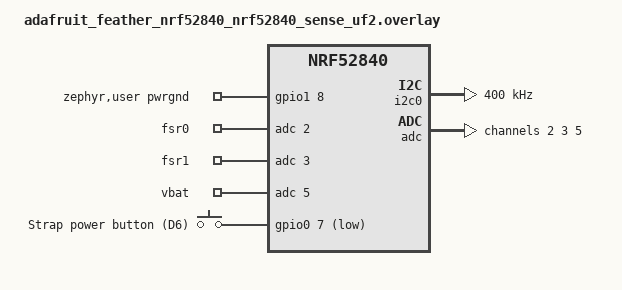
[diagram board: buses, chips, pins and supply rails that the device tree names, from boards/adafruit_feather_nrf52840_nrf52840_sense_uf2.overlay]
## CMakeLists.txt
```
cmake_minimum_required(VERSION 3.20.0)

find_package(Zephyr REQUIRED HINTS $ENV{ZEPHYR_BASE})
project(boxe_node)

target_sources(app PRIVATE
  src/main.c
  src/punch_detect.c
  src/ble_service.c
  src/adxl375.c
  src/lsm6ds33.c
  src/power.c
)
target_include_directories(app PRIVATE src)
```

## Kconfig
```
# Boxe_AI application options

menu "Boxe_AI"

config BOXE_HAND_R
	bool "Build the right-hand node"
	help
	  The two wrist nodes run identical firmware and differ only by the
	  name they advertise: BOXE-L (default) or BOXE-R. Without this symbol
	  a -DCONFIG_BOXE_HAND_R=y on the west command line is silently
	  discarded and both nodes come up as BOXE-L.

endmenu

source "Kconfig.zephyr"
```

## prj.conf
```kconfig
# Boxe_AI node — Zephyr (upstream, v4.4.x)

CONFIG_BT=y
CONFIG_BT_PERIPHERAL=y
CONFIG_BT_DEVICE_NAME="BOXE-X"
# Device name is overridden at runtime from a hand-select GPIO or build flag
CONFIG_BT_DEVICE_NAME_DYNAMIC=y
CONFIG_BT_L2CAP_TX_MTU=247
CONFIG_BT_BUF_ACL_TX_SIZE=251
CONFIG_BT_BUF_ACL_RX_SIZE=251

# Raw 1 kHz capture pushes 208 B x 50/s = ~10.4 kB/s on top of the 100 Hz
# stream. The defaults do not carry that: three tx buffers empty faster than
# the controller refills them, and the 1M PHY with a 30-50 ms interval has no
# headroom. Data length extension keeps one notify in one link-layer packet.
CONFIG_BT_BUF_ACL_TX_COUNT=10
CONFIG_BT_CONN_TX_MAX=10
# Raising the tx count forces this one: every tx buffer can produce a
# num-completed-packets event, so the host asserts at build time unless the
# event RX pool is strictly larger than the ACL TX pool.
CONFIG_BT_BUF_EVT_RX_COUNT=12
CONFIG_BT_CTLR_PHY_2M=y
CONFIG_BT_USER_PHY_UPDATE=y
CONFIG_BT_AUTO_PHY_UPDATE=y
CONFIG_BT_CTLR_DATA_LENGTH_MAX=251
CONFIG_BT_AUTO_DATA_LEN_UPDATE=y

CONFIG_I2C=y
CONFIG_ADC=y
CONFIG_GPIO=y

# Console + shell land on the USB CDC port (the uf2 board variant wires
# zephyr,console to board_cdc_acm_uart) — no debug probe needed for bring-up.
# For RTT over the Pi Debug Probe instead, add: -DEXTRA_CONF_FILE=rtt.conf
CONFIG_LOG=y
CONFIG_LOG_MODE_DEFERRED=y
CONFIG_SHELL=y
CONFIG_I2C_SHELL=y

CONFIG_MAIN_STACK_SIZE=2048
CONFIG_SYSTEM_WORKQUEUE_STACK_SIZE=2048

# Float printf for debug
CONFIG_CBPRINTF_FP_SUPPORT=y

# Honour the board's DT code partition (0x26000). Without this Zephyr links at
# 0x0, over the MBR/SoftDevice region the Adafruit UF2 bootloader reserves, and
# the bootloader never jumps to the image.
CONFIG_USE_DT_CODE_PARTITION=y

# sys_reboot(), used by the `dfu` shell command
CONFIG_REBOOT=y

# sys_poweroff() -> nRF System OFF; the strap button holds to power off and
# wakes through GPIO SENSE (src/power.c)
CONFIG_POWEROFF=y
```

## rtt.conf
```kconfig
# Move logging and shell to SEGGER RTT (SWD probe) instead of USB CDC.
#   west build -b <board> firmware -- -DEXTRA_CONF_FILE=rtt.conf
#   pyocd rtt -t nrf52840
# Useful once the node runs on battery with no USB attached.

CONFIG_USE_SEGGER_RTT=y
CONFIG_LOG_BACKEND_RTT=y
CONFIG_LOG_BACKEND_UART=n
CONFIG_SHELL_BACKEND_RTT=y
CONFIG_SHELL_BACKEND_SERIAL=n
```

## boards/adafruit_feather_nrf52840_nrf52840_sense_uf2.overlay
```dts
/*
 * Boxe_AI node — devicetree overlay, Feather nRF52840 Sense (uf2 variant).
 *
 * The two I2C sensors (ADXL375 on the STEMMA QT connector, on-board LSM6DS33)
 * have no usable Zephyr driver, so they are driven register-level from
 * src/adxl375.c and src/lsm6ds33.c. Nothing to declare for them here beyond
 * the bus speed.
 *
 * FlexiForce A201 dividers: A0 = P0.04 = AIN2, A1 = P0.05 = AIN3.
 * Battery sense: the board wires VBAT through a 100k/100k divider to
 * P0.29 = AIN5 (see vbatt node in the board dtsi).
 * Power button: momentary, between D6 = P0.07 and D5 = P1.08, internal
 * pull-up on D6. D5 is driven low as the button's return — the header has a
 * single GND pin and the FSR dividers already own it. Any real GND works too.
 * EN is left unconnected (src/power.c does the on/off latching).
 */

#include <zephyr/dt-bindings/adc/adc.h>
#include <zephyr/dt-bindings/adc/nrf-adc.h>
#include <zephyr/dt-bindings/i2c/i2c.h>

&i2c0 {
	status = "okay";
	/* 400 kHz: a 6-byte ADXL375 read must fit inside the 1 ms sample tick */
	clock-frequency = <I2C_BITRATE_FAST>;
};

/ {
	zephyr,user {
		io-channels = <&adc 2>, <&adc 3>, <&adc 5>;
		io-channel-names = "fsr0", "fsr1", "vbat";
		/* button return: held low by power.c, retained through System OFF */
		pwrgnd-gpios = <&gpio1 8 GPIO_ACTIVE_HIGH>;
	};

	/* Point the alias at &button0 (the on-board switch, P1.02) to try the
	 * hold-to-off / press-to-wake path before a strap button is wired. */
	aliases {
		pwrbtn = &pwr_button;
	};

	strap_buttons {
		compatible = "gpio-keys";

		pwr_button: pwr_button {
			gpios = <&gpio0 7 (GPIO_PULL_UP | GPIO_ACTIVE_LOW)>;
			label = "Strap power button (D6)";
		};
	};
};

&adc {
	status = "okay";
	#address-cells = <1>;
	#size-cells = <0>;

	/* FSR channels: 0-3.3 V into a 3.6 V window (gain 1/6, 0.6 V ref).
	 *
	 * 20 us acquisition, not the usual 10: the SAADC caps source impedance
	 * per acquisition time (10 us -> 100k, 15 -> 200k, 20 -> 400k) and the
	 * divider presents R_fixed || R_fsr, which is ~100k unloaded with the
	 * 100k fixed resistor. 10 us would sit exactly on the limit. Two
	 * channels at 20 us is 40 us of a 1000 us tick.
	 */
	channel@2 {
		reg = <2>;
		zephyr,gain = "ADC_GAIN_1_6";
		zephyr,reference = "ADC_REF_INTERNAL";
		zephyr,acquisition-time = <ADC_ACQ_TIME(ADC_ACQ_TIME_MICROSECONDS, 20)>;
		zephyr,input-positive = <NRF_SAADC_AIN2>;
		zephyr,resolution = <12>;
	};

	channel@3 {
		reg = <3>;
		zephyr,gain = "ADC_GAIN_1_6";
		zephyr,reference = "ADC_REF_INTERNAL";
		zephyr,acquisition-time = <ADC_ACQ_TIME(ADC_ACQ_TIME_MICROSECONDS, 20)>;
		zephyr,input-positive = <NRF_SAADC_AIN3>;
		zephyr,resolution = <12>;
	};

	/* VBAT after the on-board 2:1 divider: 4.2 V -> 2.1 V, needs a 2.4 V
	 * window (gain 1/4). Longer acquisition — high divider impedance. */
	channel@5 {
		reg = <5>;
		zephyr,gain = "ADC_GAIN_1_4";
		zephyr,reference = "ADC_REF_INTERNAL";
		zephyr,acquisition-time = <ADC_ACQ_TIME(ADC_ACQ_TIME_MICROSECONDS, 40)>;
		zephyr,input-positive = <NRF_SAADC_AIN5>;
		zephyr,resolution = <12>;
	};
};
```

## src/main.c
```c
/*
 * Boxe_AI wrist node — main sampling pipeline.
 *
 *   k_timer 1 kHz ─▶ sample work: SAADC read (FSR x2) + ADXL375 FIFO drain
 *                    ├─▶ punch_detect_feed()   (always, full rate)
 *                    └─▶ every IMU_DECIM ticks: LSM6DS33 read, batch into
 *                        imu_packet, notify when STREAM_BATCH full
 *   1 Hz status timer ─▶ battery ADC + counters -> status notify
 *
 * Both I2C sensors are driven register-level (adxl375.c / lsm6ds33.c): no
 * Zephyr driver exists for either part on this board.
 */

#include <zephyr/kernel.h>
#include <zephyr/logging/log.h>
#include <zephyr/drivers/adc.h>
#include <zephyr/drivers/gpio.h>
#include <stdlib.h>
#include <zephyr/shell/shell.h>
#include <zephyr/sys/reboot.h>
#include <hal/nrf_power.h>
#include "boxe.h"

LOG_MODULE_REGISTER(boxe, LOG_LEVEL_INF);

/* Hand selection: build with -DCONFIG_BOXE_HAND_R=y for right node,
 * or read a GPIO strap at boot (v1). */
#ifdef CONFIG_BOXE_HAND_R
#define NODE_NAME "BOXE-R"
#else
#define NODE_NAME "BOXE-L"
#endif

static const struct adc_dt_spec fsr0 =
	ADC_DT_SPEC_GET_BY_NAME(DT_PATH(zephyr_user), fsr0);
static const struct adc_dt_spec fsr1 =
	ADC_DT_SPEC_GET_BY_NAME(DT_PATH(zephyr_user), fsr1);
static const struct adc_dt_spec vbat =
	ADC_DT_SPEC_GET_BY_NAME(DT_PATH(zephyr_user), vbat);

/*
 * Red LED (D13, P1.09): a 50 ms blink every 2 s while the node is running, so
 * the on/off state is visible through the strap. Solid would cost ~2 mA,
 * 15-20 % of the node's draw on a 200 mAh pack; the blink averages ~50 uA.
 * Both timers run in ISR context; the nRF GPIO driver is safe to call there.
 */
#define LED_PERIOD   K_SECONDS(2)
#define LED_ON_TIME  K_MSEC(50)

static const struct gpio_dt_spec led_on = GPIO_DT_SPEC_GET(DT_ALIAS(led0), gpios);

static void led_off_fn(struct k_timer *timer)
{
	ARG_UNUSED(timer);
	(void)gpio_pin_set_dt(&led_on, 0);
}
K_TIMER_DEFINE(led_off_timer, led_off_fn, NULL);

static void led_blink_fn(struct k_timer *timer)
{
	ARG_UNUSED(timer);
	(void)gpio_pin_set_dt(&led_on, 1);
	k_timer_start(&led_off_timer, LED_ON_TIME, K_NO_WAIT);
}
K_TIMER_DEFINE(led_blink_timer, led_blink_fn, NULL);

static struct imu_packet stream_pkt;
static uint8_t stream_fill;
static struct raw_packet raw_pkt;
static uint8_t raw_fill;
static uint32_t tick_count, dropped, event_count;
/* peak-hold across one decimation window: FSR channels, and the hardest
 * high-g tick, so the 100 Hz stream shows the impact rather than the tick
 * before or after it */
static uint16_t fsr0_hold, fsr1_hold;
static int16_t hg_hold[3];
static uint16_t hg_hold_mag;
static uint32_t ticks_this_second, measured_hz;
static uint32_t hg_down_s;      /* seconds the ADXL375 was not measuring */

static uint16_t adc_read_raw(const struct adc_dt_spec *spec)
{
	int16_t raw = 0;
	struct adc_sequence seq = {
		.buffer = &raw,
		.buffer_size = sizeof(raw),
	};

	adc_sequence_init_dt(spec, &seq);
	if (adc_read_dt(spec, &seq) != 0) {
		return 0;
	}
	return raw < 0 ? 0 : (uint16_t)raw;
}

static void sample_fn(struct k_work *work)
{
	uint32_t t_us = (uint32_t)k_cyc_to_us_floor64(k_cycle_get_32());

	ticks_this_second++;

	/* --- FSR channels (fast path, every tick) ------------------- */
	uint16_t raw0 = adc_read_raw(&fsr0);
	uint16_t raw1 = adc_read_raw(&fsr1);

	if (raw0 > fsr0_hold) {
		fsr0_hold = raw0;
	}
	if (raw1 > fsr1_hold) {
		fsr1_hold = raw1;
	}

	/* --- ADXL375 (every tick — impact peaks are short) ----------- */
	int16_t hgx = 0, hgy = 0, hgz = 0;
	(void)adxl375_read_peak(&hgx, &hgy, &hgz);

	uint16_t hg_mag = punch_hg_mag(hgx, hgy, hgz);

	if (hg_mag > hg_hold_mag) {
		hg_hold_mag = hg_mag;
		hg_hold[0] = hgx; hg_hold[1] = hgy; hg_hold[2] = hgz;
	}

	punch_detect_feed(t_us, raw0, raw1, hgx, hgy, hgz);

	/* --- raw capture (only while a host is subscribed) ----------- */
	if (ble_raw_enabled()) {
		if (raw_fill == 0) {
			raw_pkt.t_us_base = t_us;
		}
		struct raw_sample *r = &raw_pkt.s[raw_fill];

		r->hgx = hgx; r->hgy = hgy; r->hgz = hgz;
		r->f0 = raw0; r->f1 = raw1;

		if (++raw_fill == RAW_BATCH) {
			raw_fill = 0;
			ble_raw_submit(&raw_pkt);
		}
	} else if (raw_fill) {
		/* capture stopped mid-packet: drop the partial batch rather
		 * than emit it later against a stale timebase */
		raw_fill = 0;
	}

	struct event_packet ev;

	while (punch_detect_pop(&ev)) {
		event_count++;
		ble_notify_event(&ev);
		LOG_INF("punch #%u peak=%u f0=%u width=%u.%u ms exec=%u ms",
			ev.seq, ev.peak_hg, ev.f0_peak,
			ev.width_ms10 / 10, ev.width_ms10 % 10,
			(ev.t_us - ev.t_start_us) / 1000);
	}

	/* --- decimated IMU stream ------------------------------------ */
	if (++tick_count % IMU_DECIM == 0) {
		int16_t a[3] = {0}, g[3] = {0};

		(void)lsm6ds33_read(a, g);
		punch_detect_lowg(a);

		if (stream_fill == 0) {
			stream_pkt.t_us_base = t_us;
		}
		struct imu_sample *s = &stream_pkt.s[stream_fill];

		s->ax = a[0]; s->ay = a[1]; s->az = a[2];
		s->gx = g[0]; s->gy = g[1]; s->gz = g[2];
		s->hgx = hg_hold[0]; s->hgy = hg_hold[1]; s->hgz = hg_hold[2];
		s->f0 = fsr0_hold; s->f1 = fsr1_hold;
		fsr0_hold = 0; fsr1_hold = 0;
		hg_hold_mag = 0;

		if (++stream_fill == STREAM_BATCH) {
			stream_fill = 0;
			ble_notify_imu(&stream_pkt);
		}
	}
}
K_WORK_DEFINE(sample_work, sample_fn);

static void sample_tick(struct k_timer *timer)
{
	/* keep the ISR minimal: hand off to the system workqueue */
	if (k_work_submit(&sample_work) < 0) {
		dropped++;
	}
}
K_TIMER_DEFINE(sample_timer, sample_tick, NULL);

static void status_fn(struct k_work *work)
{
	/* on-board 100k/100k divider: VBAT = 2 x measured */
	uint16_t vbat_raw = adc_read_raw(&vbat);
	int32_t mv = vbat_raw;

	if (adc_raw_to_millivolts_dt(&vbat, &mv) != 0) {
		mv = 0;
	}

	/*
	 * Throw away one FSR conversion before the sample loop takes its next
	 * one. The battery channel shares the SAADC with the FSR channels and
	 * uses a different input configuration, and the first fsr0 conversion
	 * after a vbat conversion reads about 160 counts high — one sample
	 * wide, on fsr0 only, because fsr1 is read second and has settled.
	 *
	 * That is above PUNCH_FSR_CONTACT, so it asserted contact for exactly
	 * one sample and manufactured a punch event once per second: 27 events
	 * in a 32 s capture of a node lying still, every one of them 1.000 s
	 * after the last.
	 */
	(void)adc_read_raw(&fsr0);

	measured_hz = ticks_this_second;
	ticks_this_second = 0;

	/* The high-g part is the punch detector's start trigger. If it drops
	 * into standby the node keeps streaming a plausible-looking stream of
	 * zeros and detects nothing at all, so check it every second. */
	bool measuring = false;

	(void)adxl375_health(&measuring);
	if (!measuring) {
		hg_down_s++;
	}

	struct status_packet st = {
		.uptime_s = k_uptime_get() / 1000,
		.batt_mv = (uint16_t)(mv * 2),
		.loop_hz = (uint16_t)measured_hz,
		.dropped = (uint16_t)dropped,
		.events = (uint16_t)event_count,
	};

	ble_notify_status(&st);
}
K_WORK_DEFINE(status_work, status_fn);

static void status_tick(struct k_timer *timer)
{
	k_work_submit(&status_work);
}
K_TIMER_DEFINE(status_timer, status_tick, NULL);

void pipeline_stop(void)
{
	k_timer_stop(&sample_timer);
	k_timer_stop(&status_timer);
	k_timer_stop(&led_blink_timer);
	k_timer_stop(&led_off_timer);
	(void)gpio_pin_set_dt(&led_on, 0);
}

int main(void)
{
	LOG_INF("Boxe_AI node %s boot", NODE_NAME);

	if (gpio_is_ready_dt(&led_on)) {
		(void)gpio_pin_configure_dt(&led_on, GPIO_OUTPUT_INACTIVE);
		k_timer_start(&led_blink_timer, K_NO_WAIT, LED_PERIOD);
	} else {
		LOG_ERR("led0 not ready");
	}

	if (!adc_is_ready_dt(&fsr0) || !adc_is_ready_dt(&fsr1) ||
	    !adc_is_ready_dt(&vbat)) {
		LOG_ERR("SAADC not ready");
	}
	(void)adc_channel_setup_dt(&fsr0);
	(void)adc_channel_setup_dt(&fsr1);
	(void)adc_channel_setup_dt(&vbat);

	if (adxl375_init() != 0) {
		LOG_ERR("adxl375 init failed — high-g is the punch start "
			"trigger, so detection will not work until it does");
	}
	(void)lsm6ds33_init();

	int err = ble_service_init(NODE_NAME);

	if (err) {
		LOG_ERR("BLE init failed (%d)", err);
		return err;
	}

	k_timer_start(&sample_timer, K_MSEC(1), K_USEC(1000000 / SAMPLE_HZ));
	k_timer_start(&status_timer, K_SECONDS(1), K_SECONDS(1));

	/* after the pipeline: a hold detected before this point would race
	 * the timers it stops */
	(void)power_button_init();

	LOG_INF("pipeline running at %d Hz", SAMPLE_HZ);
	return 0;
}

/*
 * `dfu` shell command: reboot into the Adafruit UF2 bootloader without the
 * physical double-tap on RESET, so reflashing stays scriptable over the USB
 * console. 0x57 is the magic the bootloader looks for in GPREGRET.
 */
static int cmd_dfu(const struct shell *sh, size_t argc, char **argv)
{
	ARG_UNUSED(argc);
	ARG_UNUSED(argv);

	shell_print(sh, "rebooting into the UF2 bootloader");
	nrf_power_gpregret_set(NRF_POWER, 0, 0x57);
	sys_reboot(SYS_REBOOT_COLD);
	return 0;
}
SHELL_CMD_REGISTER(dfu, NULL, "Reboot into the UF2 bootloader", cmd_dfu);

/*
 * `fsr [n]` shell command: print raw SAADC counts for both FlexiForce
 * channels, n times at 10 Hz (default 20). Used to size the divider's fixed
 * resistor — the counts are otherwise only visible inside an event packet,
 * which needs a punch to fire.
 *
 * Scale: 12-bit, gain 1/6, 0.6 V internal reference -> 3.6 V full scale over
 * 4095 counts, i.e. 0.879 mV/count. A 3.3 V rail therefore tops out at 3754.
 */
static int cmd_fsr(const struct shell *sh, size_t argc, char **argv)
{
	uint32_t n = 20;

	if (argc > 1) {
		n = strtoul(argv[1], NULL, 0);
		if (n == 0 || n > 1000) {
			shell_error(sh, "count must be 1..1000");
			return -EINVAL;
		}
	}

	/*
	 * Report the signed reading and the driver's error code, not the
	 * clamped value the sample loop uses. adc_read_raw() maps a failed
	 * conversion, a slightly negative reading at 0 V, and a genuine 0 V
	 * onto the same 0 — which is exactly the ambiguity that made a dead
	 * channel indistinguishable from an unloaded sensor.
	 */
	shell_print(sh, " f0raw err  f1raw err     mV0    mV1");
	for (uint32_t i = 0; i < n; i++) {
		int16_t v0 = 0, v1 = 0;
		struct adc_sequence s0 = { .buffer = &v0,
					   .buffer_size = sizeof(v0) };
		struct adc_sequence s1 = { .buffer = &v1,
					   .buffer_size = sizeof(v1) };

		adc_sequence_init_dt(&fsr0, &s0);
		int e0 = adc_read_dt(&fsr0, &s0);

		adc_sequence_init_dt(&fsr1, &s1);
		int e1 = adc_read_dt(&fsr1, &s1);

		shell_print(sh, "%6d %3d %6d %3d  %6d %6d", v0, e0, v1, e1,
			    (int)((int32_t)v0 * 3600 / 4095),
			    (int)((int32_t)v1 * 3600 / 4095));
		k_sleep(K_MSEC(100));
	}
	return 0;
}
SHELL_CMD_REGISTER(fsr, NULL, "Print raw FSR ADC counts: fsr [samples]", cmd_fsr);

/*
 * `hg` shell command: is the high-g part actually measuring, and what does it
 * read. Standby streams zeros, which on the wire is indistinguishable from a
 * perfectly still node — a whole session was recorded that way before this
 * existed. Check it before strapping the nodes on.
 */
static int cmd_hg(const struct shell *sh, size_t argc, char **argv)
{
	uint32_t n = 10;

	if (argc > 1) {
		n = strtoul(argv[1], NULL, 0);
		if (n == 0 || n > 1000) {
			shell_error(sh, "count must be 1..1000");
			return -EINVAL;
		}
	}

	bool measuring = false;
	int err = adxl375_health(&measuring);

	shell_print(sh, "measuring : %s%s", measuring ? "yes" : "NO",
		    err ? " (i2c error)" : "");
	shell_print(sh, "recoveries: %u", adxl375_recoveries());
	shell_print(sh, "seconds down: %u", hg_down_s);

	/* FIFO headroom: the loop pops the FIFO every tick, so the most
	 * entries ever found waiting says how late the loop has run. Near 32
	 * means entries were dropped; raise MAX_POP_PER_TICK or lower the ODR. */
	uint32_t overruns = 0;
	uint8_t peak_entries = 0;
	uint32_t bad = 0;

	adxl375_fifo_stats(&overruns, &peak_entries, &bad);
	shell_print(sh, "fifo: peak %u entries waiting, %u overruns, loop %u Hz",
		    peak_entries, overruns, measured_hz);
	/* anything but 0 here is the I2C link returning garbage */
	shell_print(sh, "out-of-range samples dropped: %u", bad);
	if (!measuring) {
		shell_warn(sh, "high-g is the punch start trigger — "
			       "detection does nothing while it reads zero");
	}

	shell_print(sh, "    x      y      z       g");
	for (uint32_t i = 0; i < n; i++) {
		int16_t x = 0, y = 0, z = 0;

		if (adxl375_read_peak(&x, &y, &z) != 0) {
			shell_error(sh, "read failed");
			return 0;
		}
		/* 49 mg/LSB; printed x100 to stay in integers */
		uint32_t mag = (uint32_t)((abs(x) > abs(y) ? abs(x) : abs(y)));

		mag = mag > (uint32_t)abs(z) ? mag : (uint32_t)abs(z);
		shell_print(sh, "%6d %6d %6d   %u.%02u", x, y, z,
			    (unsigned)(mag * 49 / 1000),
			    (unsigned)((mag * 49 / 10) % 100));
		k_sleep(K_MSEC(100));
	}
	return 0;
}
SHELL_CMD_REGISTER(hg, NULL, "ADXL375 state and live readings: hg [samples]", cmd_hg);
```

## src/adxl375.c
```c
/*
 * ADXL375 (+/-200 g) minimal I2C driver.
 *
 * Zephyr has no adi,adxl375 binding. The part shares the ADXL345 register map
 * and DEVID (0xE5) but has a fixed 49 mg/LSB scale, so a direct register
 * driver is both simpler and cheaper than going through the sensor API — the
 * BLE protocol carries raw LSB anyway (protocol.md).
 */

#include <zephyr/kernel.h>
#include <zephyr/drivers/i2c.h>
#include <zephyr/logging/log.h>
#include "boxe.h"

LOG_MODULE_DECLARE(boxe);

#define ADXL375_ADDR        0x53   /* ALT ADDRESS low — Adafruit breakout default */

#define REG_DEVID           0x00
#define REG_BW_RATE         0x2C
#define REG_POWER_CTL       0x2D
#define REG_DATA_FORMAT     0x31
#define REG_DATAX0          0x32
#define REG_FIFO_CTL        0x38
#define REG_FIFO_STATUS     0x39

#define DEVID_ADXL375       0xE5
#define POWER_CTL_MEASURE   0x08
#define DATA_FORMAT_INIT    0x0B   /* full resolution, right justified */
#define FIFO_CTL_STREAM     0x80   /* stream mode: oldest entry dropped when full */
#define FIFO_ENTRIES_MASK   0x3F
#define FIFO_DEPTH          32

/*
 * Output data rate. The part's bandwidth is ODR/2, and a glove impact is a
 * 1-2 ms pulse: at 800 Hz (400 Hz bandwidth) the pulse is smoothed and the
 * one sample the 1 kHz loop took from it landed anywhere on the flank, so the
 * same punch read 20 % apart from one trial to the next. At 1600 Hz the part
 * writes 1.6 entries per loop tick into its FIFO and the tick pops all of
 * them and keeps the hardest — the loop still runs at 1 kHz.
 *
 * 3200 Hz would be better again but costs 3-4 six-byte I2C reads per tick,
 * ~0.7 ms at 400 kHz, on top of the SAADC and the LSM6DS33; the loop would
 * miss ticks. Watch `loop_hz` in the status packet if you try it. SPI (the
 * breakout supports it, 5 MHz) would make it free.
 *
 * Back at 800 Hz until the part is on SPI. 1600 Hz over I2C did not hold up
 * on the glove: a still arm read 5-16 g spikes (p99 5.9 g against 1.4 g at
 * 800 Hz, same node, LSM6 showing 1.0 g and <10 dps), which opened an event
 * every few hundred ms in guard, and loop_hz fell from 992 to 926-965. The
 * datasheet caps the ODR at 800 Hz for 400 kHz I2C and warns of corrupted
 * data above it. The spikes fit a torn sample — low and high byte from
 * different conversions, so an axis near zero reads 0x00FF or 0xFF00,
 * +/-12.5 g — and only showed in orientations that put an axis near zero.
 * The FIFO stays on: at 0.8 entries per tick it still guarantees that no
 * sample is skipped between two ticks.
 */
#define ADXL375_ODR_HZ      800
#if ADXL375_ODR_HZ == 3200
#define BW_RATE_CODE        0x0F
#elif ADXL375_ODR_HZ == 1600
#define BW_RATE_CODE        0x0E
#elif ADXL375_ODR_HZ == 800
#define BW_RATE_CODE        0x0D
#else
#error "ADXL375_ODR_HZ must be 800, 1600 or 3200"
#endif

/* Entries popped per tick at most. A stall (BLE, a log flush) lets the FIFO
 * pile up; draining all 32 in one tick would stall the loop again, so the
 * backlog is worked off over a few ticks instead — the peak is late by that
 * many ms, not lost. */
#define MAX_POP_PER_TICK    6

static const struct device *const i2c = DEVICE_DT_GET(DT_NODELABEL(i2c0));

/*
 * The breakout is powered from the board's 3V3 rail, so unplugging USB from a
 * node running on USB alone power-cycles the sensor at the same moment the MCU
 * boots. The MCU wins that race: the DEVID read here failed on a sensor that
 * had not finished powering up, main() discarded the error, and the node then
 * streamed all-zero high-g for a whole session — no start trigger, no punch
 * detection, and nothing on the wire saying so. Observed on BOXE-R after a
 * cable swap: DEVID read back 0xe5 once the shell got to it, but POWER_CTL was
 * still 0x00, the power-on default.
 *
 * So: retry the probe, and verify the configuration took rather than trusting
 * the writes. adxl375_health() then re-runs this if the part is ever found
 * back in standby.
 */
#define INIT_RETRIES        10
#define INIT_RETRY_MS       5

/* Full resolution is 13 bits: no real sample leaves +/-4096 LSB (+/-200 g).
 * Anything beyond is a corrupted read, seen as 1215-1517 g "impacts". */
#define SAMPLE_LSB_MAX      4096

static uint32_t recoveries;
static uint32_t fifo_overruns;      /* ticks that found the FIFO full */
static uint8_t fifo_peak_entries;   /* most entries seen waiting */
static uint32_t bad_samples;        /* reads rejected as out of range */
static int16_t last_x, last_y, last_z;  /* last good sample */

/*
 * The register writes only, with no probe and no sleeping. Split out because
 * adxl375_health() runs on the system work queue at 1 Hz, which is the same
 * queue the 1 kHz sample work sits on: a retry loop that slept there would
 * stall sampling for as long as it slept.
 */
static int adxl375_configure(void)
{
	int err;

	/* Order matters: configure while standby, then enable measurement. */
	i2c_reg_write_byte(i2c, ADXL375_ADDR, REG_POWER_CTL, 0x00);
	i2c_reg_write_byte(i2c, ADXL375_ADDR, REG_DATA_FORMAT, DATA_FORMAT_INIT);
	i2c_reg_write_byte(i2c, ADXL375_ADDR, REG_BW_RATE, BW_RATE_CODE);
	i2c_reg_write_byte(i2c, ADXL375_ADDR, REG_FIFO_CTL, FIFO_CTL_STREAM);
	err = i2c_reg_write_byte(i2c, ADXL375_ADDR, REG_POWER_CTL,
				 POWER_CTL_MEASURE);
	if (err) {
		LOG_ERR("adxl375: measure enable failed (%d)", err);
		return err;
	}

	/* Read it back. A write that is ACKed by a part that is still coming
	 * up does not necessarily stick, and standby is indistinguishable from
	 * a perfectly still glove on the wire. */
	uint8_t pwr = 0;

	err = i2c_reg_read_byte(i2c, ADXL375_ADDR, REG_POWER_CTL, &pwr);
	if (err || pwr != POWER_CTL_MEASURE) {
		LOG_ERR("adxl375: POWER_CTL reads 0x%02x, expected 0x%02x "
			"(err %d)", pwr, POWER_CTL_MEASURE, err);
		return err ? err : -EIO;
	}

	LOG_INF("adxl375: ready (%d Hz, FIFO stream, +/-200 g, 49 mg/LSB)",
		ADXL375_ODR_HZ);
	return 0;
}

int adxl375_init(void)
{
	uint8_t devid = 0;
	int err = -EIO;

	if (!device_is_ready(i2c)) {
		LOG_ERR("adxl375: i2c0 not ready");
		return -ENODEV;
	}

	for (int i = 0; i < INIT_RETRIES; i++) {
		err = i2c_reg_read_byte(i2c, ADXL375_ADDR, REG_DEVID, &devid);
		if (err == 0) {
			break;
		}
		k_sleep(K_MSEC(INIT_RETRY_MS));
	}
	if (err) {
		LOG_ERR("adxl375: no ACK at 0x%02x after %d tries (%d) — "
			"check STEMMA cable", ADXL375_ADDR, INIT_RETRIES, err);
		return err;
	}
	if (devid != DEVID_ADXL375) {
		LOG_ERR("adxl375: DEVID 0x%02x, expected 0x%02x", devid,
			DEVID_ADXL375);
		return -EINVAL;
	}

	return adxl375_configure();
}

/*
 * Standby before System OFF: ~0.1 uA against ~145 uA measuring. The part
 * keeps its supply in System OFF (the 3.3 V rail stays up), so whatever
 * state it is left in is what it draws until the next wake.
 */
int adxl375_standby(void)
{
	return i2c_reg_write_byte(i2c, ADXL375_ADDR, REG_POWER_CTL, 0x00);
}

/*
 * Cheap 1 Hz liveness check: one register read, and a reconfigure without
 * sleeping if the part is found asleep. Standby produces a stream of zeros
 * that looks exactly like a node nobody is wearing, so this is the only thing
 * standing between a dead sensor and a wasted session.
 */
int adxl375_health(bool *measuring)
{
	uint8_t pwr = 0;
	int err = i2c_reg_read_byte(i2c, ADXL375_ADDR, REG_POWER_CTL, &pwr);

	if (err) {
		*measuring = false;
		return err;
	}
	*measuring = (pwr == POWER_CTL_MEASURE);
	if (!*measuring) {
		LOG_WRN("adxl375: found in standby (POWER_CTL 0x%02x), "
			"reconfiguring", pwr);
		if (adxl375_configure() == 0) {
			recoveries++;
			*measuring = true;
		}
	}
	return 0;
}

uint32_t adxl375_recoveries(void)
{
	return recoveries;
}

static int read_sample(int16_t *x, int16_t *y, int16_t *z)
{
	uint8_t b[6];
	int err = i2c_burst_read(i2c, ADXL375_ADDR, REG_DATAX0, b, sizeof(b));

	if (err) {
		return err;
	}
	*x = (int16_t)((b[1] << 8) | b[0]);
	*y = (int16_t)((b[3] << 8) | b[2]);
	*z = (int16_t)((b[5] << 8) | b[4]);
	return 0;
}

/*
 * Pop what the FIFO holds and return the entry with the largest magnitude.
 * Each 6-byte DATAX0 read pops one entry (the part requires the full
 * six-byte read per entry, and 5 us between reads, which the I2C overhead
 * covers).
 *
 * An empty FIFO is not read at all: the data registers are then being written
 * by the part, and a read that straddles the update returns bytes from two
 * conversions. The caller gets the last good sample instead, which is at most
 * one tick old. Out-of-range samples are dropped the same way.
 */
int adxl375_read_peak(int16_t *x, int16_t *y, int16_t *z)
{
	uint8_t st = 0;
	int err = i2c_reg_read_byte(i2c, ADXL375_ADDR, REG_FIFO_STATUS, &st);

	if (err) {
		return err;
	}
	uint8_t n = st & FIFO_ENTRIES_MASK;

	if (n > fifo_peak_entries) {
		fifo_peak_entries = n;
	}
	if (n >= FIFO_DEPTH) {
		fifo_overruns++;
	}
	if (n > MAX_POP_PER_TICK) {
		n = MAX_POP_PER_TICK;
	}

	uint16_t best = 0;
	bool got = false;

	for (uint8_t i = 0; i < n; i++) {
		int16_t sx, sy, sz;

		err = read_sample(&sx, &sy, &sz);
		if (err) {
			return err;
		}
		if (sx < -SAMPLE_LSB_MAX || sx > SAMPLE_LSB_MAX ||
		    sy < -SAMPLE_LSB_MAX || sy > SAMPLE_LSB_MAX ||
		    sz < -SAMPLE_LSB_MAX || sz > SAMPLE_LSB_MAX) {
			bad_samples++;
			continue;
		}
		uint16_t mag = punch_hg_mag(sx, sy, sz);

		if (!got || mag > best) {
			got = true;
			best = mag;
			last_x = sx; last_y = sy; last_z = sz;
		}
	}
	*x = last_x; *y = last_y; *z = last_z;
	return 0;
}

void adxl375_fifo_stats(uint32_t *overruns, uint8_t *peak_entries,
			uint32_t *bad)
{
	*overruns = fifo_overruns;
	*peak_entries = fifo_peak_entries;
	*bad = bad_samples;
}
```

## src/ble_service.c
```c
/*
 * Boxe_AI BLE GATT service. UUIDs and payloads per protocol.md.
 * Notify-only characteristics: IMU stream, punch events, status.
 */

#include <zephyr/kernel.h>
#include <zephyr/logging/log.h>
#include <zephyr/bluetooth/bluetooth.h>
#include <zephyr/bluetooth/gatt.h>
#include <zephyr/shell/shell.h>
#include <string.h>
#include "boxe.h"

LOG_MODULE_REGISTER(boxe_ble, LOG_LEVEL_INF);

#define UUID_BASE(n) BT_UUID_128_ENCODE(0x6f8e000##n, 0xb5a3, 0x4f39, \
					0xb0c4, 0x2ae94a2c5e01)

static const struct bt_uuid_128 uuid_svc = BT_UUID_INIT_128(UUID_BASE(1));
static const struct bt_uuid_128 uuid_imu = BT_UUID_INIT_128(UUID_BASE(2));
static const struct bt_uuid_128 uuid_evt = BT_UUID_INIT_128(UUID_BASE(3));
static const struct bt_uuid_128 uuid_raw = BT_UUID_INIT_128(UUID_BASE(4));
static const struct bt_uuid_128 uuid_sta = BT_UUID_INIT_128(UUID_BASE(5));

static void ccc_changed(const struct bt_gatt_attr *attr, uint16_t value)
{
	LOG_INF("ccc %u", value);
}

/* --- raw capture ------------------------------------------------------- */

/* 32 packets = 640 ms of slack between the 1 kHz producer and the radio.
 * Eight (160 ms) was not enough in practice: with both nodes streaming, the
 * Windows adapter interleaves the two links unevenly and one of them stalls
 * for hundreds of milliseconds at a time, which cost 30 % of a capture. The
 * buffer is 6.6 kB of a 256 kB part, and a host that stops draining entirely
 * is still reported as loss rather than absorbed as latency. */
#define RAW_QUEUE_DEPTH   32
#define RAW_TX_RETRIES    50
#define RAW_TX_RETRY_MS   2

/* A notification carries at most MTU-3 bytes. Exceeding it does not fail
 * loudly, it silently truncates every packet in the capture, so catch a
 * raised RAW_BATCH here rather than in a week-old recording. */
BUILD_ASSERT(sizeof(struct raw_packet) <= CONFIG_BT_L2CAP_TX_MTU - 3,
	     "raw_packet exceeds the ATT notification payload — lower "
	     "RAW_BATCH or raise CONFIG_BT_L2CAP_TX_MTU");

K_MSGQ_DEFINE(raw_q, sizeof(struct raw_packet), RAW_QUEUE_DEPTH, 4);

static atomic_t raw_on;
static uint16_t raw_seq;
static uint16_t raw_pending_lost;   /* dropped since the last packet queued */
static uint32_t raw_sent, raw_lost;

static void raw_ccc_changed(const struct bt_gatt_attr *attr, uint16_t value)
{
	bool on = (value == BT_GATT_CCC_NOTIFY);

	if (on == (atomic_get(&raw_on) != 0)) {
		return;
	}
	if (on) {
		/* start clean: stale packets from a previous capture would
		 * land at the head of the new file with the old timebase */
		k_msgq_purge(&raw_q);
		raw_seq = 0;
		raw_pending_lost = 0;
		raw_sent = raw_lost = 0;
	}
	atomic_set(&raw_on, on ? 1 : 0);
	LOG_INF("raw capture %s", on ? "ON" : "off");
}

bool ble_raw_enabled(void)
{
	return atomic_get(&raw_on) != 0;
}

BT_GATT_SERVICE_DEFINE(boxe_svc,
	BT_GATT_PRIMARY_SERVICE(&uuid_svc),
	/* [1] IMU stream */
	BT_GATT_CHARACTERISTIC(&uuid_imu.uuid, BT_GATT_CHRC_NOTIFY,
			       BT_GATT_PERM_NONE, NULL, NULL, NULL),
	BT_GATT_CCC(ccc_changed, BT_GATT_PERM_READ | BT_GATT_PERM_WRITE),
	/* [4] punch events */
	BT_GATT_CHARACTERISTIC(&uuid_evt.uuid, BT_GATT_CHRC_NOTIFY,
			       BT_GATT_PERM_NONE, NULL, NULL, NULL),
	BT_GATT_CCC(ccc_changed, BT_GATT_PERM_READ | BT_GATT_PERM_WRITE),
	/* [7] status */
	BT_GATT_CHARACTERISTIC(&uuid_sta.uuid, BT_GATT_CHRC_NOTIFY,
			       BT_GATT_PERM_NONE, NULL, NULL, NULL),
	BT_GATT_CCC(ccc_changed, BT_GATT_PERM_READ | BT_GATT_PERM_WRITE),
	/* [10] raw 1 kHz capture — subscribing to it is what turns it on.
	 * Appended after status rather than in UUID order so the existing
	 * attribute indices below stay put. */
	BT_GATT_CHARACTERISTIC(&uuid_raw.uuid, BT_GATT_CHRC_NOTIFY,
			       BT_GATT_PERM_NONE, NULL, NULL, NULL),
	BT_GATT_CCC(raw_ccc_changed, BT_GATT_PERM_READ | BT_GATT_PERM_WRITE),
);

#define ATTR_IMU (&boxe_svc.attrs[1])
#define ATTR_EVT (&boxe_svc.attrs[4])
#define ATTR_STA (&boxe_svc.attrs[7])
#define ATTR_RAW (&boxe_svc.attrs[10])

static const struct bt_data ad[] = {
	BT_DATA_BYTES(BT_DATA_FLAGS, BT_LE_AD_GENERAL | BT_LE_AD_NO_BREDR),
	BT_DATA_BYTES(BT_DATA_UUID128_ALL, UUID_BASE(1)),
};

/*
 * The name lives in a static buffer because the scan-response data is rebuilt
 * on every advertising restart, not just at init.
 */
static char node_name[16];
static struct bt_data sd[1];

/*
 * A connectable advertiser stops the moment a central connects and is not
 * resumed for us — the implicit restart the old BT_LE_ADV_OPT_ONE_TIME
 * semantics gave us is gone. Without an explicit restart the node advertises
 * exactly once per boot and goes invisible after the first host disconnects.
 *
 * Deferred to the work queue for two reasons. bt_le_adv_start() must not run
 * from the BT RX thread that delivers the disconnected callback; and the
 * connection object is still held when that callback fires, so a connectable
 * advertiser started too early gets -ENOMEM — there is no free conn for it to
 * be connected on. That is a race, not a permanent failure: it fires on one
 * board and not another. Retry with backoff instead of giving up, or the node
 * goes dark for the rest of the session.
 */
#define ADV_RETRY_MS      100
#define ADV_RETRY_MAX     20

static int adv_retries;

static void adv_work_handler(struct k_work *work)
{
	ARG_UNUSED(work);

	int err = bt_le_adv_start(BT_LE_ADV_CONN_FAST_1, ad, ARRAY_SIZE(ad),
				  sd, ARRAY_SIZE(sd));
	if (err == 0 || err == -EALREADY) {
		adv_retries = 0;
		LOG_INF("advertising as %s", node_name);
		return;
	}

	if (err == -ENOMEM && ++adv_retries <= ADV_RETRY_MAX) {
		/* conn not released yet — come back shortly */
		k_work_schedule(k_work_delayable_from_work(work),
				K_MSEC(ADV_RETRY_MS));
		return;
	}

	LOG_ERR("advertising restart failed (%d) after %d retries",
		err, adv_retries);
	adv_retries = 0;
}

static K_WORK_DELAYABLE_DEFINE(adv_work, adv_work_handler);

static void connected(struct bt_conn *conn, uint8_t err)
{
	LOG_INF("host connected (err %u)", err);
	if (err) {
		return;
	}

	/*
	 * Raw capture needs ~10.4 kB/s per node, which the 1M PHY at a default
	 * 30-50 ms interval will not carry. Ask for 2M and a 15-30 ms interval
	 * with room for several packets per event. Both are requests: the
	 * central is free to refuse, so nothing here is load-bearing — a
	 * refusal shows up as loss on the `raw` counters, not as a failure.
	 */
	(void)bt_conn_le_phy_update(conn, BT_CONN_LE_PHY_PARAM_2M);
	(void)bt_conn_le_param_update(conn, BT_LE_CONN_PARAM(12, 24, 0, 400));
}

static void disconnected(struct bt_conn *conn, uint8_t reason)
{
	LOG_INF("host disconnected (0x%02x)", reason);
	/* the CCC is cleared for an unbonded peer anyway; be explicit so a
	 * capture cannot survive the host that asked for it */
	atomic_set(&raw_on, 0);
	adv_retries = 0;
	k_work_schedule(&adv_work, K_MSEC(ADV_RETRY_MS));
}

BT_CONN_CB_DEFINE(conn_cb) = {
	.connected = connected,
	.disconnected = disconnected,
};

/* Last failure from init/restart, reported by the `ble` shell command. The
 * boot log is unreachable on this board: the console is USB CDC, which only
 * exists after enumeration, so anything logged during init is already gone by
 * the time a terminal attaches. */
static int last_err;
static const char *last_stage = "not started";

int ble_service_init(const char *name)
{
	int err = bt_enable(NULL);
	if (err) {
		last_err = err;
		last_stage = "bt_enable";
		return err;
	}
	bt_set_name(name);

	strncpy(node_name, name, sizeof(node_name) - 1);
	sd[0] = (struct bt_data)BT_DATA(BT_DATA_NAME_COMPLETE, node_name,
					strlen(node_name));

	/* FAST_1: 30-60 ms advertising interval — the node should be picked up
	 * quickly when the athlete straps it on. */
	err = bt_le_adv_start(BT_LE_ADV_CONN_FAST_1, ad, ARRAY_SIZE(ad),
			      sd, ARRAY_SIZE(sd));
	if (err) {
		last_err = err;
		last_stage = "bt_le_adv_start";
		return err;
	}
	last_stage = "advertising";
	LOG_INF("advertising as %s", node_name);
	return 0;
}

/*
 * `ble` shell command: report what init managed and retry advertising. The
 * retry matters as much as the report — if bt_enable() succeeded but the
 * advertiser did not start, this recovers the node without a reflash.
 */
static void count_conn(struct bt_conn *conn, void *data)
{
	ARG_UNUSED(conn);
	(*(int *)data)++;
}

static int cmd_ble(const struct shell *sh, size_t argc, char **argv)
{
	ARG_UNUSED(argc);
	ARG_UNUSED(argv);

	int conns = 0;

	bt_conn_foreach(BT_CONN_TYPE_LE, count_conn, &conns);

	shell_print(sh, "name       : %s", node_name[0] ? node_name : "(unset)");
	shell_print(sh, "bt_is_ready: %s", bt_is_ready() ? "yes" : "no");
	shell_print(sh, "connections: %d (max %d)", conns, CONFIG_BT_MAX_CONN);
	shell_print(sh, "last stage : %s", last_stage);
	shell_print(sh, "last err   : %d", last_err);

	if (!bt_is_ready()) {
		int err = bt_enable(NULL);

		shell_print(sh, "bt_enable retry -> %d", err);
		if (err) {
			return 0;
		}
		bt_set_name(node_name);
	}

	int err = bt_le_adv_start(BT_LE_ADV_CONN_FAST_1, ad, ARRAY_SIZE(ad),
				  sd, ARRAY_SIZE(sd));
	shell_print(sh, "bt_le_adv_start -> %d%s", err,
		    err == -EALREADY ? " (already advertising)"
		    : err == -ENOMEM ? " (no free conn — still connected?)" : "");
	if (!err || err == -EALREADY) {
		last_stage = "advertising";
	}
	return 0;
}
SHELL_CMD_REGISTER(ble, NULL, "Report BLE state and retry advertising", cmd_ble);

void ble_notify_imu(const struct imu_packet *pkt)
{
	(void)bt_gatt_notify(NULL, ATTR_IMU, pkt, sizeof(*pkt));
}

void ble_notify_event(const struct event_packet *pkt)
{
	(void)bt_gatt_notify(NULL, ATTR_EVT, pkt, sizeof(*pkt));
}

void ble_notify_status(const struct status_packet *pkt)
{
	(void)bt_gatt_notify(NULL, ATTR_STA, pkt, sizeof(*pkt));
}

/*
 * Raw capture producer side. Called from the 1 kHz sample path, so it must
 * not block: a full queue drops the packet and the loss is folded into the
 * next one that fits, which keeps the gap visible in the capture file rather
 * than letting the sample loop stall behind the radio.
 */
void ble_raw_submit(struct raw_packet *pkt)
{
	pkt->seq = raw_seq++;
	pkt->lost = raw_pending_lost;

	if (k_msgq_put(&raw_q, pkt, K_NO_WAIT) != 0) {
		raw_seq--;               /* this packet never existed */
		if (raw_pending_lost < UINT16_MAX) {
			raw_pending_lost++;
		}
		raw_lost++;
		return;
	}
	raw_pending_lost = 0;
}

/*
 * Consumer side, on its own thread rather than the system workqueue: a notify
 * that has to wait for buffers would otherwise block the 1 kHz sample work
 * queued behind it, and a stalled sample loop is worse than a dropped packet.
 *
 * bt_gatt_notify() returns -ENOMEM when the controller's tx buffers are full,
 * which at 50 packets/s is normal back-pressure rather than an error — retry
 * across a few connection events before giving up on the packet.
 */
static void raw_tx_thread(void *a, void *b, void *c)
{
	ARG_UNUSED(a); ARG_UNUSED(b); ARG_UNUSED(c);

	struct raw_packet pkt;

	while (1) {
		k_msgq_get(&raw_q, &pkt, K_FOREVER);

		int err = bt_gatt_notify(NULL, ATTR_RAW, &pkt, sizeof(pkt));

		/* Retry only while nothing is waiting behind this packet. Once
		 * the queue is backing up, spending 100 ms on one packet just
		 * converts a single hole into several. */
		for (int i = 0; i < RAW_TX_RETRIES &&
				(err == -ENOMEM || err == -EAGAIN) &&
				k_msgq_num_used_get(&raw_q) == 0; i++) {
			k_sleep(K_MSEC(RAW_TX_RETRY_MS));
			err = bt_gatt_notify(NULL, ATTR_RAW, &pkt, sizeof(pkt));
		}

		if (err == 0) {
			raw_sent++;
		} else {
			/* No counter to bump on this side: the packet already
			 * carries a seq, so the host sees the hole as a gap in
			 * the sequence. raw_pending_lost belongs to the
			 * producer thread alone and stays there. */
			raw_lost++;
		}
	}
}
K_THREAD_DEFINE(raw_tx_tid, 1024, raw_tx_thread, NULL, NULL, NULL,
		K_PRIO_PREEMPT(5), 0, 0);

/*
 * `raw` shell command: is capture running, and is the radio keeping up. The
 * loss counter is the one that matters — a sweep fitted on a capture with
 * holes in it fits the holes.
 */
static int cmd_raw(const struct shell *sh, size_t argc, char **argv)
{
	ARG_UNUSED(argc);
	ARG_UNUSED(argv);

	shell_print(sh, "capture   : %s", ble_raw_enabled() ? "ON" : "off");
	shell_print(sh, "packets   : %u sent, %u lost", raw_sent, raw_lost);
	shell_print(sh, "queued    : %u/%u", k_msgq_num_used_get(&raw_q),
		    RAW_QUEUE_DEPTH);
	shell_print(sh, "rate      : %d B/packet, %d packets/s when running",
		    (int)sizeof(struct raw_packet), SAMPLE_HZ / RAW_BATCH);
	shell_print(sh, "enable by subscribing to the raw characteristic "
			"(boxe_host.py --raw)");
	return 0;
}
SHELL_CMD_REGISTER(raw, NULL, "Report raw 1 kHz capture state", cmd_raw);
```

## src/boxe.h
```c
/* Boxe_AI node — shared definitions. Wire formats must match protocol.md. */

#ifndef BOXE_H
#define BOXE_H

#include <stdint.h>
#include <stdbool.h>

#define SAMPLE_HZ        1000       /* FSR SAADC loop */
#define IMU_DECIM        10         /* 1 kHz -> 100 Hz stream view */
#define STREAM_BATCH     5          /* samples per BLE imu packet */
#define RAW_BATCH        20         /* samples per raw packet = 20 ms */

/* punch detection thresholds — tune during calibration */
#define PUNCH_HG_START_LSB   102    /* ~5 g on ADXL375 (49 mg/LSB) */
#define PUNCH_LG_START_MG    3000   /* LSM6 |a| that also opens an event; 0 = off.
				     * An unloaded punch peaks at 4-9 g on the
				     * wrist, right on the ADXL375 threshold and
				     * inside its offset + noise; the low-g part
				     * resolves that range cleanly */
#define PUNCH_FSR_CONTACT    150    /* ADC counts above baseline */
#define PUNCH_WINDOW_MS      400
#define PUNCH_REFRACT_MS     150
#define PUNCH_QUIET_MS       100    /* event ends after this long under every
				     * threshold. Was 30: a punch is a drive, a dip
				     * and a harder stop at extension 50-90 ms on,
				     * so 30 ms closed the event in the dip and the
				     * stop fell in the refractory or became a second
				     * event — 13 of 25 events held the punch's real
				     * peak; at 100 ms, 23 of 23 */
#define PUNCH_CONFIRM_MS     3      /* sustained FSR contact needed to open an event */
#define PUNCH_OPEN_ON_HG     1      /* 1: only high-g opens an event; the FSR is
				     * read inside it for contact. 0: FSR contact
				     * opens one too (original rule) */
#define PUNCH_CONTACT_END_PCT 50    /* contact is over once the FSR falls below
				     * this share of its peak in the event; 0
				     * keeps it while f_rel > PUNCH_FSR_CONTACT */

struct __packed imu_sample {
	int16_t ax, ay, az;         /* LSM6DS33, mg */
	int16_t gx, gy, gz;         /* dps x10 (+/-2000 dps fits int16) */
	int16_t hgx, hgy, hgz;      /* ADXL375 raw LSB, 49 mg/LSB — the hardest
				     * tick of the decimation window, same reason */
	uint16_t f0, f1;            /* FSR ADC counts, peak over the decimation
				     * window — a plain snapshot at 100 Hz walks
				     * straight past a contact peak a few ms wide */
};

struct __packed imu_packet {
	uint32_t t_us_base;
	struct imu_sample s[STREAM_BATCH];
};

struct __packed event_packet {
	uint32_t t_us;
	uint8_t  flags;             /* bit0 contact, bit1 hg saturated,
				     * bit2 swing (either accel over its start
				     * threshold during the event) */
	uint8_t  peak_lg10;         /* LSM6 |a| peak, g x10 (100 Hz samples) */
	uint16_t peak_hg;           /* raw LSB */
	uint16_t f0_peak;           /* ADC counts */
	uint16_t f1_peak;
	uint16_t width_ms10;        /* pulse width x10 */
	uint32_t impulse;           /* counts*ms */
	uint32_t seq;
	uint32_t t_start_us;        /* activity onset — exec = t_us - t_start_us */
	uint16_t retract_ms10;      /* return phase x10 (contact end -> quiet) */
};

/*
 * Raw capture: the undecimated 1 kHz view the detector actually consumes,
 * with no thresholding applied. Only what the punch detector reads is
 * carried — high-g axes and both FSR channels — so a threshold sweep can be
 * replayed offline against the exact input the state machine saw.
 *
 * The gyro and the low-g accel are deliberately absent: they are not detector
 * inputs, they would nearly triple the bandwidth, and the 100 Hz stream still
 * carries them alongside a raw capture.
 *
 * Sample timestamps are implicit: sample i is t_us_base + i * (1e6/SAMPLE_HZ).
 * `lost` counts packets the queue could not take since the last one that got
 * through, so a gap is visible in the capture instead of silently closing up.
 */
struct __packed raw_sample {
	int16_t hgx, hgy, hgz;      /* ADXL375 raw LSB, 49 mg/LSB: the hardest
				     * FIFO entry of the tick, what the detector saw */
	uint16_t f0, f1;            /* FSR ADC counts, no peak-hold, no filter */
};

struct __packed raw_packet {
	uint32_t t_us_base;
	uint16_t seq;               /* packet counter, wraps */
	uint16_t lost;              /* packets dropped since the previous one */
	struct raw_sample s[RAW_BATCH];
};

struct __packed status_packet {
	uint32_t uptime_s;
	uint16_t batt_mv;
	uint16_t loop_hz;
	uint16_t dropped;
	uint16_t events;
};

/* adxl375.c — high-g impact accelerometer, raw LSB out. The part buffers in
 * its FIFO; adxl375_read_peak() pops everything since the last tick and
 * returns the hardest entry (the last good sample if nothing new arrived),
 * so no sample is skipped between two loop ticks. */
int adxl375_init(void);
int adxl375_read_peak(int16_t *x, int16_t *y, int16_t *z);
void adxl375_fifo_stats(uint32_t *overruns, uint8_t *peak_entries,
			uint32_t *bad);
/* Liveness: the part streams zeros in standby, which is indistinguishable
 * from a still glove. Checked at 1 Hz; re-initialises if found asleep. */
int adxl375_health(bool *measuring);
uint32_t adxl375_recoveries(void);
int adxl375_standby(void);

/* lsm6ds33.c — on-board accel/gyro, mg and dps x10 out */
int lsm6ds33_init(void);
int lsm6ds33_read(int16_t *a, int16_t *g);
int lsm6ds33_power_down(void);

/* main.c — stop the sample/status/LED timers and leave the LED off, so a
 * System OFF entry does not race the pipeline for the I2C bus or freeze the
 * LED on (GPIO state is retained through System OFF: a lit LED would cost
 * 2 mA for the whole "off" period). */
void pipeline_stop(void);

/* power.c — momentary button as an on/off toggle via nRF System OFF.
 * Hold to power off; the same pin's GPIO SENSE wakes (resets) the chip. */
int power_button_init(void);

/* punch_detect.c — fed at SAMPLE_HZ from the sampling loop */
uint16_t punch_hg_mag(int16_t x, int16_t y, int16_t z);
void punch_detect_feed(uint32_t t_us, uint16_t f0, uint16_t f1,
		       int16_t hgx, int16_t hgy, int16_t hgz);
/* latest low-g sample, mg; held until the next one (the LSM6 is read at
 * SAMPLE_HZ / IMU_DECIM) */
void punch_detect_lowg(const int16_t a_mg[3]);
bool punch_detect_pop(struct event_packet *out);

/* ble_service.c */
int  ble_service_init(const char *name);
void ble_notify_imu(const struct imu_packet *pkt);
void ble_notify_event(const struct event_packet *pkt);
void ble_notify_status(const struct status_packet *pkt);

/* Raw capture. Enabled by the host subscribing to the raw characteristic;
 * there is no separate control write and therefore no mode to get stuck in —
 * a dropped connection clears the CCC and capture stops on its own.
 * ble_raw_submit() fills seq/lost and hands the packet to the tx thread; it
 * never blocks, so it is safe to call from the 1 kHz sample path. */
bool ble_raw_enabled(void);
void ble_raw_submit(struct raw_packet *pkt);

#endif /* BOXE_H */
```
